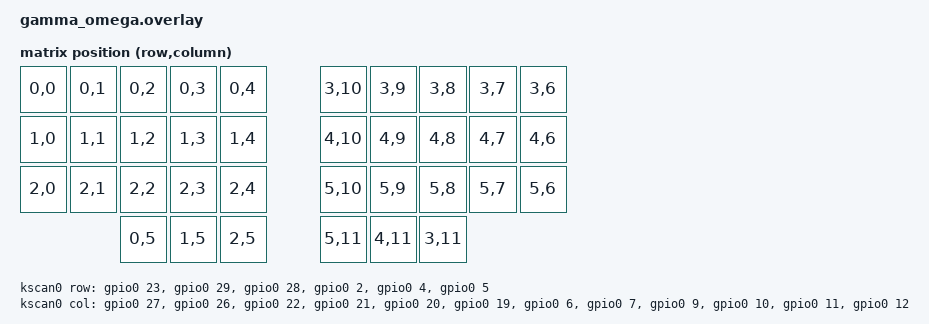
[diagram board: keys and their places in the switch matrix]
#include <dt-bindings/zmk/matrix_transform.h> // Put this with the other includes at the top of your overlay
#include <physical_layouts.dtsi>


/ {
    default_transform: keymap_transform0 {
        compatible = "zmk,matrix-transform";
        columns = <12>; // Length of the "col-gpios" array
        rows = <6>; // Length of the "row-gpios" array
        map = <
            RC(0, 0)  RC(0, 1)  RC(0, 2)  RC(0, 3)  RC(0, 4)    RC(3,10)  RC(3, 9)  RC(3, 8)  RC(3, 7)  RC(3, 6)
            RC(1, 0)  RC(1, 1)  RC(1, 2)  RC(1, 3)  RC(1, 4)    RC(4,10)  RC(4, 9)  RC(4, 8)  RC(4, 7)  RC(4, 6)
            RC(2, 0)  RC(2, 1)  RC(2, 2)  RC(2, 3)  RC(2, 4)    RC(5,10)  RC(5, 9)  RC(5, 8)  RC(5, 7)  RC(5, 6)
                                RC(0, 5)  RC(1, 5)  RC(2, 5)    RC(5,11)  RC(4,11)  RC(3,11)
        >;
    };
};

/ {
    kscan0: kscan0 {
        compatible = "zmk,kscan-gpio-matrix";
        diode-direction = "col2row";
        wakeup-source;

        col-gpios
            = <&gpio0 27 GPIO_ACTIVE_HIGH>
            , <&gpio0 26 GPIO_ACTIVE_HIGH>
            , <&gpio0 22 GPIO_ACTIVE_HIGH>
            , <&gpio0 21 GPIO_ACTIVE_HIGH>
            , <&gpio0 20 GPIO_ACTIVE_HIGH>
            , <&gpio0 19 GPIO_ACTIVE_HIGH>
            , <&gpio0 6 GPIO_ACTIVE_HIGH>
            , <&gpio0 7 GPIO_ACTIVE_HIGH>
            , <&gpio0 9 GPIO_ACTIVE_HIGH>
            , <&gpio0 10 GPIO_ACTIVE_HIGH>
            , <&gpio0 11 GPIO_ACTIVE_HIGH>
            , <&gpio0 12 GPIO_ACTIVE_HIGH>
            ;

        row-gpios
            = <&gpio0 23 (GPIO_ACTIVE_HIGH | GPIO_PULL_DOWN)>
            , <&gpio0 29 (GPIO_ACTIVE_HIGH | GPIO_PULL_DOWN)>
            , <&gpio0 28 (GPIO_ACTIVE_HIGH | GPIO_PULL_DOWN)>
            , <&gpio0 2 (GPIO_ACTIVE_HIGH | GPIO_PULL_DOWN)>
            , <&gpio0 4 (GPIO_ACTIVE_HIGH | GPIO_PULL_DOWN)>
            , <&gpio0 5 (GPIO_ACTIVE_HIGH | GPIO_PULL_DOWN)>
            ;
    };
};

/ {
    physical_layout0: physical_layout_0 { // First physical layout, use different naming for other layouts
        compatible = "zmk,physical-layout";
        display-name = "Default Layout";
        kscan = <&kscan0>; // Label of the kscan node, optional if all layouts use the same
        transform = <&default_transform>; // Label of the matrix transform for this layout

        keys  //                     w   h    x    y     rot    rx    ry
        = <&key_physical_attrs 100 100    0    0       0     0     0>
        , <&key_physical_attrs 100 100  100    0       0     0     0>
        , <&key_physical_attrs 100 100  200    0       0     0     0>
        , <&key_physical_attrs 100 100  300    0       0     0     0>
        , <&key_physical_attrs 100 100  400    0       0     0     0>
        , <&key_physical_attrs 100 100  600    0       0     0     0>
        , <&key_physical_attrs 100 100  700    0       0     0     0>
        , <&key_physical_attrs 100 100  800    0       0     0     0>
        , <&key_physical_attrs 100 100  900    0       0     0     0>
        , <&key_physical_attrs 100 100 1000    0       0     0     0>
        , <&key_physical_attrs 100 100    0  100       0     0     0>
        , <&key_physical_attrs 100 100  100  100       0     0     0>
        , <&key_physical_attrs 100 100  200  100       0     0     0>
        , <&key_physical_attrs 100 100  300  100       0     0     0>
        , <&key_physical_attrs 100 100  400  100       0     0     0>
        , <&key_physical_attrs 100 100  600  100       0     0     0>
        , <&key_physical_attrs 100 100  700  100       0     0     0>
        , <&key_physical_attrs 100 100  800  100       0     0     0>
        , <&key_physical_attrs 100 100  900  100       0     0     0>
        , <&key_physical_attrs 100 100 1000  100       0     0     0>
        , <&key_physical_attrs 100 100    0  200       0     0     0>
        , <&key_physical_attrs 100 100  100  200       0     0     0>
        , <&key_physical_attrs 100 100  200  200       0     0     0>
        , <&key_physical_attrs 100 100  300  200       0     0     0>
        , <&key_physical_attrs 100 100  400  200       0     0     0>
        , <&key_physical_attrs 100 100  600  200       0     0     0>
        , <&key_physical_attrs 100 100  700  200       0     0     0>
        , <&key_physical_attrs 100 100  800  200       0     0     0>
        , <&key_physical_attrs 100 100  900  200       0     0     0>
        , <&key_physical_attrs 100 100 1000  200       0     0     0>
        , <&key_physical_attrs 100 100  200  300       0     0     0>
        , <&key_physical_attrs 100 100  300  300       0     0     0>
        , <&key_physical_attrs 100 100  400  300       0     0     0>
        , <&key_physical_attrs 100 100  600  300       0     0     0>
        , <&key_physical_attrs 100 100  700  300       0     0     0>
        , <&key_physical_attrs 100 100  800  300       0     0     0>
        ;
    };
};

/ {
    chosen {
        zmk,physical-layout = &physical_layout0;
        // Other chosen items
    };
};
